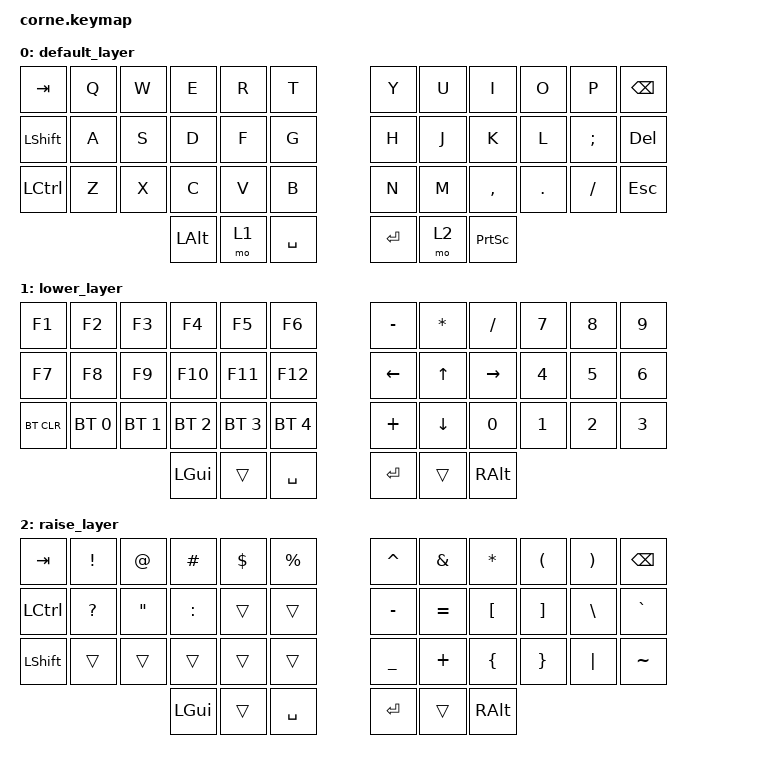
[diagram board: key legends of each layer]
/*
 * Copyright (c) 2020 The ZMK Contributors
 *
 * SPDX-License-Identifier: MIT
 */

#include <behaviors.dtsi>
#include <dt-bindings/zmk/keys.h>
#include <dt-bindings/zmk/bt.h>

/ {
        keymap {
                compatible = "zmk,keymap";

                default_layer {
// -----------------------------------------------------------------------------------------
// |  TAB |  Q  |  W  |  E  |  R  |  T  |   |  Y  |  U   |  I  |  O  |  P  | BKSP |
// | SHFT |  A  |  S  |  D  |  F  |  G  |   |  H  |  J   |  K  |  L  |  ;  | DEL  |
// | CTRL |  Z  |  X  |  C  |  V  |  B  |   |  N  |  M   |  ,  |  .  |  /  | ESC  |
//                    | ALT | LWR | SPC |   | ENT | RSE  |PSCRN|
                        bindings = <
   &kp TAB   &kp Q &kp W &kp E &kp R &kp T   &kp Y &kp U  &kp I     &kp O   &kp P    &kp BSPC
   &kp LSHFT &kp A &kp S &kp D &kp F &kp G   &kp H &kp J  &kp K     &kp L   &kp SEMI &kp DEL
   &kp LCTRL &kp Z &kp X &kp C &kp V &kp B   &kp N &kp M  &kp COMMA &kp DOT &kp FSLH &kp ESC
                  &kp LALT &mo 1 &kp SPACE   &kp RET &mo 2 &kp PSCRN
                        >;
                };
                lower_layer {
// -----------------------------------------------------------------------------------------
// |  F1  | F2  | F3  | F4  | F5  | F6  |   |  -  |  *  |  /  |  7  |  8  |  9  |
// |  F7  | F8  | F9  | F10 | F11 | F12 |   | LFT | UP  | RGT |  4  |  5  |  6  |
// | BTCLR| BT1 | BT2 | BT3 | BT4 | BT5 |   |  +  | DWN |  0  |  1  |  2  |  3  |
//                    | GUI |     | SPC |   | ENT |     | ALT |
                        bindings = <
   &kp F1     &kp F2       &kp F3       &kp F4       &kp F5       &kp F6        &kp MINUS &kp ASTRK &kp FSLH  &kp N7    &kp N8 &kp N9
   &kp F7     &kp F8       &kp F9       &kp F10      &kp F11      &kp F12       &kp LEFT  &kp UP    &kp RIGHT &kp N4    &kp N5 &kp N6
   &bt BT_CLR &bt BT_SEL 0 &bt BT_SEL 1 &bt BT_SEL 2 &bt BT_SEL 3 &bt BT_SEL 4  &kp PLUS  &kp DOWN  &kp N0    &kp N1    &kp N2 &kp N3
                                    &kp LGUI     &trans       &kp SPACE      &kp RET  &trans   &kp RALT
                        >;
                };

                raise_layer {
// -----------------------------------------------------------------------------------------
// |  TAB |  !  |  @  |  #  |  $  |  %  |   |  ^  |  &  |  *  |  (  |  )  | BKSP |
// | CTRL |  ?  |  "  |  :  |     |     |   |  -  |  =  |  [  |  ]  |  \  |  `   |
// | SHFT |     |     |     |     |     |   |  _  |  +  |  {  |  }  | "|" |  ~   |
//                    | GUI |     | SPC |   | ENT |     | ALT |
                        bindings = <
   &kp  TAB  &kp EXCL  &kp AT  &kp HASH  &kp DLLR &kp PRCNT   &kp CARET &kp AMPS  &kp ASTRK &kp LPAR &kp RPAR &kp BSPC
   &kp LCTRL &kp QMARK &kp DQT &kp COLON &trans   &trans      &kp MINUS &kp EQUAL &kp LBKT  &kp RBKT &kp BSLH &kp GRAVE
   &kp LSHFT &trans    &trans  &trans    &trans   &trans      &kp UNDER &kp PLUS  &kp LBRC  &kp RBRC &kp PIPE &kp TILDE
                             &kp LGUI &trans   &kp SPACE   &kp RET   &trans    &kp RALT
                        >;
                };
        };
};
